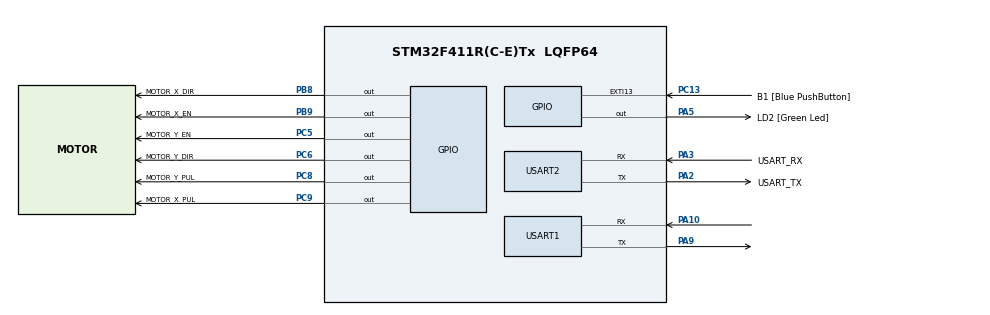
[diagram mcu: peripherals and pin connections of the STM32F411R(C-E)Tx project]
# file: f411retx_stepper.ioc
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Mcu.Family=STM32F4
FREERTOS.Queues01=cmd_Queue,2,cmdinfopack,0,Dynamic,NULL,NULL
RCC.CortexFreq_Value=100000000
FREERTOS.BinarySemaphores01=cmd_BinarySem,Dynamic,NULL
PA14.GPIO_Label=TCK
PB9.GPIO_ModeDefaultOutputPP=GPIO_MODE_OUTPUT_PP
PC6.GPIO_Label=MOTOR_Y_DIR
RCC.SYSCLKSource=RCC_SYSCLKSOURCE_PLLCLK
ProjectManager.StackSize=0x400
FREERTOS.configENABLE_FPU=1
PH0\ -\ OSC_IN.Signal=RCC_OSC_IN
Dma.USART2_RX.0.Priority=DMA_PRIORITY_LOW
Dma.USART2_RX.0.PeriphDataAlignment=DMA_PDATAALIGN_BYTE
RCC.HCLKFreq_Value=100000000
RCC.APB2TimFreq_Value=100000000
TIM3.Period=9999
Dma.USART1_RX.1.MemInc=DMA_MINC_ENABLE
RCC.AHBFreq_Value=100000000
NVIC.EXTI15_10_IRQn=true\:5\:0\:false\:false\:true\:true\:true\:true
NVIC.TIM1_TRG_COM_TIM11_IRQn=true\:0\:0\:false\:false\:true\:false\:false\:true
RCC.HSE_VALUE=8000000
Dma.USART1_RX.1.PeriphDataAlignment=DMA_PDATAALIGN_BYTE
PC13-ANTI_TAMP.Signal=GPXTI13
Dma.USART2_RX.0.MemDataAlignment=DMA_MDATAALIGN_BYTE
PC14-OSC32_IN.Mode=LSE-External-Oscillator
PA14.Mode=Serial_Wire
TIM3.Prescaler=9999
Dma.USART2_RX.0.Instance=DMA1_Stream5
PB8.PinState=GPIO_PIN_RESET
VP_FREERTOS_VS_CMSIS_V1.Mode=CMSIS_V1
RCC.FLatency-AdvancedSettings=FLASH_LATENCY_3
Dma.USART1_RX.1.Mode=DMA_CIRCULAR
Mcu.Package=LQFP64
PB9.Signal=GPIO_Output
NVIC.TimeBase=TIM1_TRG_COM_TIM11_IRQn
Dma.USART2_RX.0.PeriphInc=DMA_PINC_DISABLE
USART2.VirtualMode=VM_ASYNC
Dma.USART2_RX.0.FIFOMode=DMA_FIFOMODE_DISABLE
PA2.GPIO_Label=USART_TX
NVIC.TimeBaseIP=TIM11
PA10.Signal=USART1_RX
PB9.GPIO_PuPd=GPIO_PULLUP
PC6.GPIO_PuPd=GPIO_PULLUP
PB8.GPIO_ModeDefaultOutputPP=GPIO_MODE_OUTPUT_PP
PC8.GPIO_Speed=GPIO_SPEED_FREQ_HIGH
Dma.USART1_RX.1.PeriphInc=DMA_PINC_DISABLE
PB9.GPIO_Speed=GPIO_SPEED_FREQ_HIGH
Dma.Request1=USART1_RX
RCC.APB1TimFreq_Value=100000000
PC5.Signal=GPIO_Output
Dma.USART1_RX.1.Priority=DMA_PRIORITY_LOW
NVIC.USART1_IRQn=true\:5\:0\:false\:false\:true\:true\:true\:true
Dma.Request0=USART2_RX
PC6.GPIO_Speed=GPIO_SPEED_FREQ_HIGH
VP_TIM3_VS_ClockSourceINT.Mode=Internal
PC6.GPIO_ModeDefaultOutputPP=GPIO_MODE_OUTPUT_PP
PA3.Signal=USART2_RX
PC15-OSC32_OUT.Mode=LSE-External-Oscillator
Dma.USART1_RX.1.Instance=DMA2_Stream5
Dma.USART1_RX.1.MemDataAlignment=DMA_MDATAALIGN_BYTE
FREERTOS.Tasks01=cmdtask,0,512,cmd_task,Default,NULL,Dynamic,NULL,NULL;ctrltask,-3,512,ctrl_task,Default,NULL,Dynamic,NULL,NULL
PB9.GPIO_Label=MOTOR_X_EN
PA10.Mode=Asynchronous
PC9.GPIO_Label=MOTOR_X_PUL
PC13-ANTI_TAMP.GPIO_Label=B1 [Blue PushButton]
PH1\ -\ OSC_OUT.Mode=HSE-External-Clock-Source
PC8.Signal=GPIO_Output
PB8.GPIO_PuPd=GPIO_PULLUP
PC6.Signal=GPIO_Output
Dma.USART2_RX.0.Direction=DMA_PERIPH_TO_MEMORY
RCC.APB1CLKDivider=RCC_HCLK_DIV2
PC14-OSC32_IN.Signal=RCC_OSC32_IN
PC5.GPIO_PuPd=GPIO_PULLUP
NVIC.USART2_IRQn=true\:5\:0\:false\:false\:true\:true\:true\:true
Dma.USART2_RX.0.Mode=DMA_CIRCULAR
PC8.GPIO_Label=MOTOR_Y_PUL
PA3.Mode=Asynchronous
PA13.Signal=SYS_JTMS-SWDIO
PB8.GPIO_Label=MOTOR_X_DIR
PA9.Mode=Asynchronous
PH0\ -\ OSC_IN.Mode=HSE-External-Clock-Source
ProjectManager.TargetToolchain=STM32CubeIDE
NVIC.DMA1_Stream5_IRQn=true\:5\:0\:false\:false\:true\:true\:false\:true
PA9.Signal=USART1_TX
PC15-OSC32_OUT.Signal=RCC_OSC32_OUT
PC6.PinState=GPIO_PIN_RESET
PA5.Signal=GPIO_Output
Dma.USART1_RX.1.FIFOMode=DMA_FIFOMODE_DISABLE
PH1\ -\ OSC_OUT.Signal=RCC_OSC_OUT
board=NUCLEO-F411RE
RCC.VCOOutputFreq_Value=200000000
NVIC.TIM3_IRQn=true\:5\:0\:false\:false\:true\:true\:true\:true
RCC.APB2Freq_Value=100000000
NVIC.DMA2_Stream5_IRQn=true\:0\:0\:false\:false\:true\:false\:false\:true
PC9.GPIO_PuPd=GPIO_PULLUP
PA13.Mode=Serial_Wire
VP_SYS_VS_tim11.Mode=TIM11
Mcu.Name=STM32F411R(C-E)Tx
Dma.USART2_RX.0.MemInc=DMA_MINC_ENABLE
PA2.Signal=USART2_TX
PA13.GPIO_Label=TMS
RCC.48MHZClocksFreq_Value=50000000
PC8.GPIO_PuPd=GPIO_PULLUP
RCC.SYSCLKFreq_VALUE=100000000
PC5.PinState=GPIO_PIN_RESET
PA5.GPIO_Label=LD2 [Green Led]
PC5.GPIO_Label=MOTOR_Y_EN
USART1.VirtualMode=VM_ASYNC
PC13-ANTI_TAMP.GPIO_ModeDefaultEXTI=GPIO_MODE_IT_FALLING
PB9.PinState=GPIO_PIN_RESET
PA14.Signal=SYS_JTCK-SWCLK
ProjectManager.HeapSize=0x200
RCC.HSI_VALUE=16000000
PC9.GPIO_Speed=GPIO_SPEED_FREQ_HIGH
NVIC.PriorityGroup=NVIC_PRIORITYGROUP_4
PC5.GPIO_Speed=GPIO_SPEED_FREQ_HIGH
RCC.PLLM=8
RCC.PLLN=100
PA2.Mode=Asynchronous
PB8.Signal=GPIO_Output
Dma.USART1_RX.1.Direction=DMA_PERIPH_TO_MEMORY
PC9.Signal=GPIO_Output
RCC.APB1Freq_Value=50000000
PB8.GPIO_Speed=GPIO_SPEED_FREQ_HIGH
PC5.GPIO_ModeDefaultOutputPP=GPIO_MODE_OUTPUT_PP
PA3.GPIO_Label=USART_RX

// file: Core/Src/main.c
/* USER CODE BEGIN Header */
/**
  ******************************************************************************
  * @file           : main.c
  * @brief          : Main program body
  ******************************************************************************
  * @attention
  *
  * <h2><center>&copy; Copyright (c) 2021 STMicroelectronics.
  * All rights reserved.</center></h2>
  *
  * This software component is licensed by ST under BSD 3-Clause license,
  * the "License"; You may not use this file except in compliance with the
  * License. You may obtain a copy of the License at:
  *                        opensource.org/licenses/BSD-3-Clause
  *
  ******************************************************************************
  */
/* USER CODE END Header */
#include "main.h"
#include "cmsis_os.h"
#include "dma.h"
#include "tim.h"
#include "usart.h"
#include "gpio.h"

void SystemClock_Config(void);
void MX_FREERTOS_Init(void);

int main(void)
{

  /* MCU Configuration--------------------------------------------------------*/

  /* Reset of all peripherals, Initializes the Flash interface and the Systick. */
  HAL_Init();

  /* Configure the system clock */
  SystemClock_Config();

  /* Initialize all configured peripherals */
  MX_GPIO_Init();
  MX_DMA_Init();
  MX_USART2_UART_Init();
  MX_USART1_UART_Init();
  MX_TIM3_Init();
  /* USER CODE BEGIN 2 */
  USART2_DMA_init();
  USART1_DMA_init();
  /* USER CODE END 2 */

  /* Call init function for freertos objects (in freertos.c) */
  MX_FREERTOS_Init();
  /* Start scheduler */
  osKernelStart();

  /* We should never get here as control is now taken by the scheduler */
  /* Infinite loop */
  while (1)
  {

  }
}

void SystemClock_Config(void)
{
  LL_FLASH_SetLatency(LL_FLASH_LATENCY_3);
  while(LL_FLASH_GetLatency()!= LL_FLASH_LATENCY_3)
  {
  }
  LL_PWR_SetRegulVoltageScaling(LL_PWR_REGU_VOLTAGE_SCALE1);
  LL_RCC_HSI_SetCalibTrimming(16);
  LL_RCC_HSI_Enable();

   /* Wait till HSI is ready */
  while(LL_RCC_HSI_IsReady() != 1)
  {

  }
  LL_RCC_PLL_ConfigDomain_SYS(LL_RCC_PLLSOURCE_HSI, LL_RCC_PLLM_DIV_8, 100, LL_RCC_PLLP_DIV_2);
  LL_RCC_PLL_Enable();

   /* Wait till PLL is ready */
  while(LL_RCC_PLL_IsReady() != 1)
  {

  }
  LL_RCC_SetAHBPrescaler(LL_RCC_SYSCLK_DIV_1);
  LL_RCC_SetAPB1Prescaler(LL_RCC_APB1_DIV_2);
  LL_RCC_SetAPB2Prescaler(LL_RCC_APB2_DIV_1);
  LL_RCC_SetSysClkSource(LL_RCC_SYS_CLKSOURCE_PLL);

   /* Wait till System clock is ready */
  while(LL_RCC_GetSysClkSource() != LL_RCC_SYS_CLKSOURCE_STATUS_PLL)
  {

  }
  LL_SetSystemCoreClock(100000000);

   /* Update the time base */
  if (HAL_InitTick (TICK_INT_PRIORITY) != HAL_OK)
  {
    Error_Handler();
  }
  LL_RCC_SetTIMPrescaler(LL_RCC_TIM_PRESCALER_TWICE);
}

 /**
  * @brief  Period elapsed callback in non blocking mode
  * @note   This function is called  when TIM11 interrupt took place, inside
  * HAL_TIM_IRQHandler(). It makes a direct call to HAL_IncTick() to increment
  * a global variable "uwTick" used as application time base.
  * @param  htim : TIM handle
  * @retval None
  */
void HAL_TIM_PeriodElapsedCallback(TIM_HandleTypeDef *htim)
{
  if (htim->Instance == TIM11) {
    HAL_IncTick();
  }
}

void Error_Handler(void)
{
  __disable_irq();
  while (1)
  {
  }
}

/************************ (C) COPYRIGHT STMicroelectronics *****END OF FILE****/

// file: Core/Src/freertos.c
/* USER CODE BEGIN Header */
/**
  ******************************************************************************
  * File Name          : freertos.c
  * Description        : Code for freertos applications
  ******************************************************************************
  * @attention
  *
  * <h2><center>&copy; Copyright (c) 2021 STMicroelectronics.
  * All rights reserved.</center></h2>
  *
  * This software component is licensed by ST under Ultimate Liberty license
  * SLA0044, the "License"; You may not use this file except in compliance with
  * the License. You may obtain a copy of the License at:
  *                             www.st.com/SLA0044
  *
  ******************************************************************************
  */
/* USER CODE END Header */

#include "FreeRTOS.h"
#include "task.h"
#include "main.h"
#include "cmsis_os.h"

/* USER CODE BEGIN PTD */
typedef struct
{
  uint8_t arv;
  float x1;
  float y1;
  float x2;
  float y2;
  float r;
}cmdinfopack;
/* USER CODE END PTD */

osThreadId cmdtaskHandle;
osThreadId ctrltaskHandle;
osMessageQId cmd_QueueHandle;
osSemaphoreId cmd_BinarySemHandle;

void cmd_task(void const * argument);
void ctrl_task(void const * argument);

void MX_FREERTOS_Init(void); /* (MISRA C 2004 rule 8.1) */

/* GetIdleTaskMemory prototype (linked to static allocation support) */
void vApplicationGetIdleTaskMemory( StaticTask_t **ppxIdleTaskTCBBuffer, StackType_t **ppxIdleTaskStackBuffer, uint32_t *pulIdleTaskStackSize );

/* USER CODE BEGIN GET_IDLE_TASK_MEMORY */
static StaticTask_t xIdleTaskTCBBuffer;
static StackType_t xIdleStack[configMINIMAL_STACK_SIZE];

void vApplicationGetIdleTaskMemory( StaticTask_t **ppxIdleTaskTCBBuffer, StackType_t **ppxIdleTaskStackBuffer, uint32_t *pulIdleTaskStackSize )
{
  *ppxIdleTaskTCBBuffer = &xIdleTaskTCBBuffer;
  *ppxIdleTaskStackBuffer = &xIdleStack[0];
  *pulIdleTaskStackSize = configMINIMAL_STACK_SIZE;
  /* place for user code */
}
/* USER CODE END GET_IDLE_TASK_MEMORY */

void MX_FREERTOS_Init(void) {

  /* Create the semaphores(s) */
  /* definition and creation of cmd_BinarySem */
  osSemaphoreDef(cmd_BinarySem);
  cmd_BinarySemHandle = osSemaphoreCreate(osSemaphore(cmd_BinarySem), 1);

  /* Create the queue(s) */
  /* definition and creation of cmd_Queue */
  osMessageQDef(cmd_Queue, 2, cmdinfopack);
  cmd_QueueHandle = osMessageCreate(osMessageQ(cmd_Queue), NULL);

  /* Create the thread(s) */
  /* definition and creation of cmdtask */
  osThreadDef(cmdtask, cmd_task, osPriorityNormal, 0, 512);
  cmdtaskHandle = osThreadCreate(osThread(cmdtask), NULL);

  /* definition and creation of ctrltask */
  osThreadDef(ctrltask, ctrl_task, osPriorityIdle, 0, 512);
  ctrltaskHandle = osThreadCreate(osThread(ctrltask), NULL);

}

void cmd_task(void const * argument)
{
  /* USER CODE BEGIN cmd_task */
  BaseType_t xReturn = osErrorOS;
  char *token = NULL;
  char *arvg[5];
  const char *s = " ";                                 //命令参数分隔
  uint8_t cnt = 0;
  cmdinfopack pointinfo;

  osSemaphoreWait(cmd_BinarySemHandle, osWaitForever); //初始化后释放
  /* Infinite loop */
  for(;;)
  {
    xReturn = osSemaphoreWait(cmd_BinarySemHandle, osWaitForever);
    if(xReturn == osOK)
    {
      token = strtok(Usart1_Rx_Buf, s);
      while(token != NULL)
      {
        arvg[cnt] = token;
        token = strtok(NULL, s);
        cnt++;
      }

      if(strcmp(arvg[0], "setpoint") == 0)
      {
        pointinfo.arv = 1;
        sscanf(arvg[1], "%f,%f", &pointinfo.x1, &pointinfo.y1);
      }
      else if(strcmp(arvg[0], "drawline") == 0)
      {
        pointinfo.arv = 2;
        sscanf(arvg[1], "%f,%f", &pointinfo.x1, &pointinfo.y1);
        sscanf(arvg[2], "%f,%f", &pointinfo.x2, &pointinfo.y2);
      }
      else if(strcmp(arvg[0], "drawcircle") == 0)
      {
        pointinfo.arv = 3;
        sscanf(arvg[1], "%f,%f", &pointinfo.x1, &pointinfo.y1);
        sscanf(arvg[2], "%f", &pointinfo.r);
      }
      else if(strcmp(arvg[0], "calibration") == 0)
      {
        pointinfo.arv = 4;
        sscanf(arvg[1], "%f,%f", &pointinfo.x1, &pointinfo.y1);
      }
      else if(strcmp(arvg[0], "on") == 0)
      {
        pointinfo.arv = 5;
        MOTOR_X_EN(ON);
        MOTOR_Y_EN(ON);
      }
      else if(strcmp(arvg[0], "off") == 0)
      {
        pointinfo.arv = 6;
        MOTOR_X_EN(OFF);
        MOTOR_Y_EN(OFF);
      }

      osMessagePut(cmd_QueueHandle, (uint32_t)&pointinfo, 0);      //发指令消息给ctrl_task执行

      memset(Usart1_Rx_Buf, 0, USART1_RBUFF_SIZE);
      memset(*arvg, 0, 5);
      token = NULL;
      cnt = 0;
    }
  }
  /* USER CODE END cmd_task */
}

void ctrl_task(void const * argument)
{
  /* USER CODE BEGIN ctrl_task */
  osEvent cmdEvent;
  cmdinfopack *point;
  /* Infinite loop */
  for(;;)
  {
    cmdEvent = osMessageGet(cmd_QueueHandle, osWaitForever);    //等待指令消息
    if(cmdEvent.status == osEventMessage)
    {
      point = (cmdinfopack*)cmdEvent.value.p;
      switch(point->arv)
      {
      case 1:
        printf("show %d,%d\r\n", (int)point->x1, (int)point->y1);
        turn_coordinate(point->x1, point->y1);
        break;
      case 2:
        printf("show %d,%d\r\n", (int)point->x2, (int)point->y2);
        drawline(point->x1, point->y1, point->x2, point->y2);
        break;
      case 3:
        printf("show %d,%d\r\n", (int)point->x1, (int)(point->y1 + point->r));
        drawcircle(point->x1, point->y1, point->r, 1);
        break;
      case 4:
        calibration(point->x1, point->y1);
        break;
      default:break;
      }
      point->arv = 0;
    }
  }
  /* USER CODE END ctrl_task */
}

/************************ (C) COPYRIGHT STMicroelectronics *****END OF FILE****/
